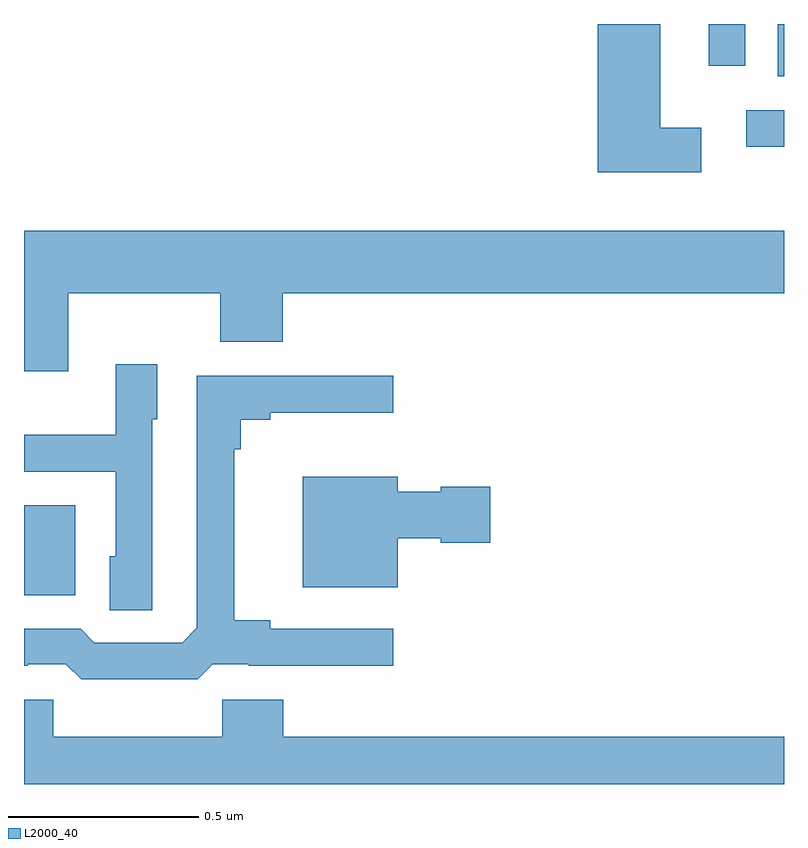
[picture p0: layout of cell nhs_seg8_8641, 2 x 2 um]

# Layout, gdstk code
import gdstk
lib = gdstk.Library(unit=1e-6, precision=1e-09)
def R(c, l, rs):  # rectangles x0, y0, x1, y1
    for r in rs: c.add(gdstk.rectangle(r[:2], r[2:], *l))
def P(c, l, *ps):  # polygons
    for p in ps: c.add(gdstk.Polygon(p, *l))
L2000_40 = (2000, 40)

nhs_seg8_8641 = lib.new_cell('nhs_seg8_8641')
R(nhs_seg8_8641, L2000_40, [(226,1090.397,226.135,1090.633), (227.901,1091.577,228,1091.673), (227.983,1091.762,228,1091.9), (227.802,1091.79,227.898,1091.9)])
P(nhs_seg8_8641, L2000_40, [(227.782,1091.627),(227.674,1091.627),(227.674,1091.9),(227.51,1091.9),(227.51,1091.51),(227.782,1091.51)],
  [(226.117,1091.192),(226.517,1091.192),(226.517,1091.064),(226.681,1091.064),(226.681,1091.192),(228,1091.192),(228,1091.356),(226,1091.356),(226,1090.986),(226.117,1090.986)],
  [(226.338,1090.86),(226.351,1090.86),(226.351,1091.005),(226.242,1091.005),(226.242,1090.819),(226,1090.819),(226,1090.722),(226.242,1090.722),(226.242,1090.5),(226.226,1090.5),(226.226,1090.357),(226.338,1090.357)],
  [(226.497,1090.215),(226.591,1090.215),(226.591,1090.211),(226.972,1090.211),(226.972,1090.308),(226.648,1090.308),(226.648,1090.331),(226.553,1090.331),(226.553,1090.781),(226.571,1090.781),(226.571,1090.858),(226.648,1090.858),(226.648,1090.877),(226.972,1090.877),(226.972,1090.974),(226.455,1090.974),(226.455,1090.311),(226.416,1090.272),(226.185,1090.272),(226.149,1090.308),(226,1090.308),(226,1090.211),(226.01,1090.211),(226.01,1090.215),(226.11,1090.215),(226.15,1090.176),(226.457,1090.176)],
  [(226.984,1090.547),(227.097,1090.547),(227.097,1090.535),(227.227,1090.535),(227.227,1090.682),(227.097,1090.682),(227.097,1090.669),(226.984,1090.669),(226.984,1090.708),(226.733,1090.708),(226.733,1090.418),(226.984,1090.418)],
  [(228,1090.024),(226.682,1090.024),(226.682,1090.122),(226.522,1090.122),(226.522,1090.024),(226.077,1090.024),(226.077,1090.122),(226,1090.122),(226,1089.9),(228,1089.9)])

lib.write_gds('nhs_seg8_8641.gds')
